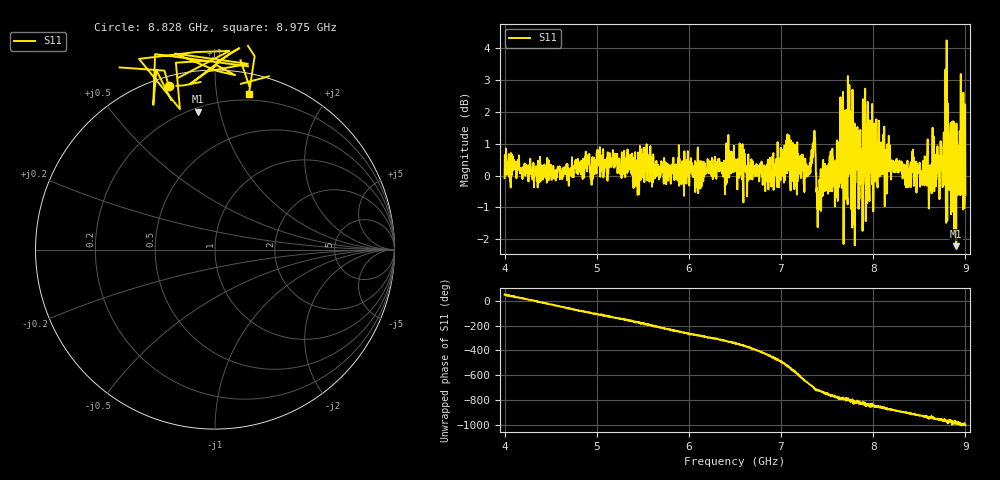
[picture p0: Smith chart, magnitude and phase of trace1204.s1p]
! Created with skrf 1.8.0 (http://scikit-rf.org).
# Hz S RI R 50.0
!freq ReS11 ImS11
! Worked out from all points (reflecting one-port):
!   1601 points, 4 GHz to 9 GHz, reference 50 ohm
!   lowest |S11| = -2.2 dB at 8.9 GHz (marker M1), VSWR 7.88, Z = 11.1 + j42.8 ohm
!   phase of S11 starts at 51 deg and turns -1056 deg over the sweep
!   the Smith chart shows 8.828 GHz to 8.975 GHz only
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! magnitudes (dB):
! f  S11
! 4 GHz  -0.1
! 4.625 GHz  -0.1
! 5.25 GHz  0.1
! 5.875 GHz  0.2
! 6.5 GHz  0.5
! 7.069 GHz  1.3
! 7.125 GHz  0.4
! 7.269 GHz  0.2
! 7.35 GHz  0.9
! 7.409 GHz  -1.1
! 7.538 GHz  0.8
! 7.591 GHz  0.5
! 7.65 GHz  0.8
! 7.703 GHz  0.1
! 7.75 GHz  1.6
! 7.784 GHz  -0.7
! 7.834 GHz  0.5
! 7.859 GHz  1.4
! 7.922 GHz  -0.2
! 7.981 GHz  0.7
! 8.097 GHz  0.4
! 8.375 GHz  -0.2
! 8.622 GHz  0.3
! 8.819 GHz  0.9
! 8.825 GHz  0.7
! 8.9 GHz  -2.2
! 8.972 GHz  0.8
! 9 GHz  -0.6
